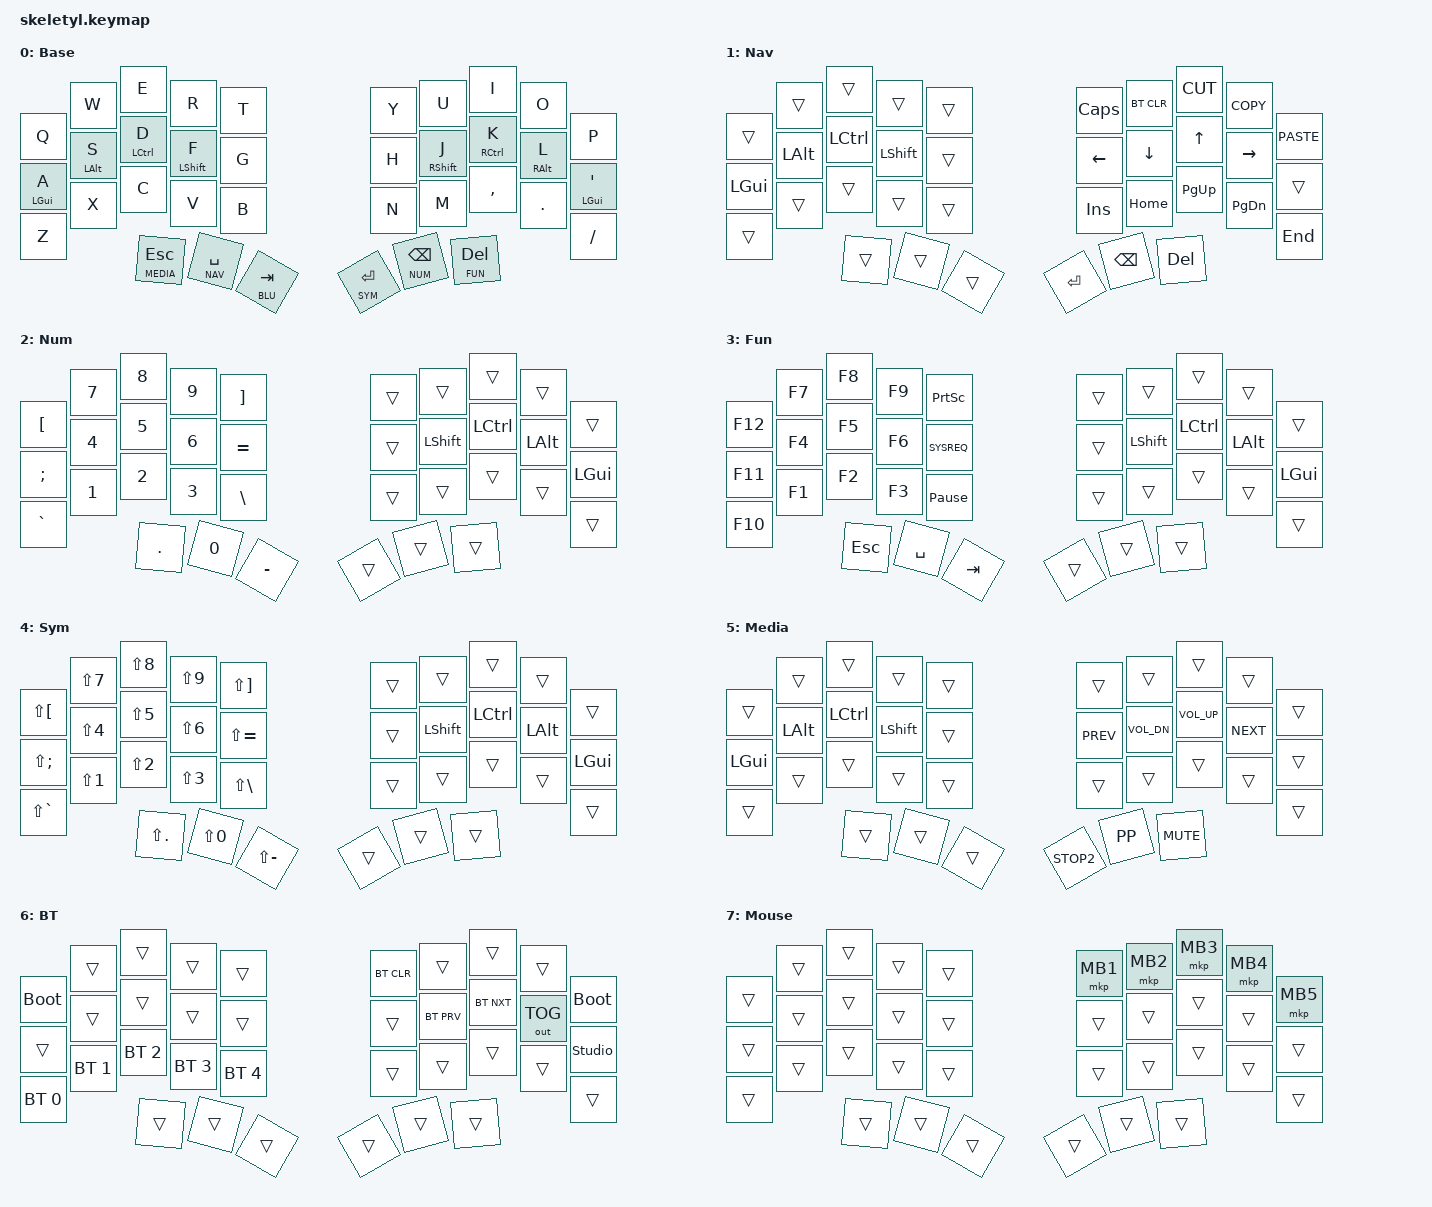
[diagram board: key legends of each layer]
/*
 * Mirrors the Klein keymap (github.com/AdrianPanainte/Klein-zmk, klein.keymap) so both
 * boards type the same. Differences, all due to hardware:
 *   - 3 thumb keys per side instead of Klein's 4 left / 3 right: Klein's extra inner-left
 *     key (mute / bootloader) is dropped.
 *   - No knob: the knob bindings are gone.
 *   - Trackball instead of trackpad: hold SPACE (NAV) to scroll, and moving the ball turns
 *     on MOUSE for a moment with clicks on the right top row.
 *   - BLU also has bootloader (Q = left half, P = right half), USB/BLE toggle and Studio unlock.
 */

#include <behaviors.dtsi>
#include <dt-bindings/zmk/bt.h>
#include <dt-bindings/zmk/input_transform.h>
#include <dt-bindings/zmk/keys.h>
#include <dt-bindings/zmk/mouse.h>
#include <dt-bindings/zmk/outputs.h>
#include <dt-bindings/zmk/pointing.h>
#include <input/processors.dtsi>

#define BASE  0
#define NAV   1
#define NUM   2
#define FUN   3
#define SYM   4
#define MEDIA 5
#define BLU   6
#define MOUSE 7  // auto-enabled while the trackball moves

// Same home-row mod timing as the Klein
&mt {
    quick-tap-ms = <100>;
    require-prior-idle-ms = <100>;
    flavor = "tap-preferred";
    tapping-term-ms = <180>;
};

// MOUSE turns on when the ball moves (unless you typed in the last 200ms) and off again
// 1s after it stops or as soon as any key other than the clicks or left home-row mods is
// pressed. Positions: 5-9 = Y U I O P (clicks), 10-13 = A S D F (mods for Cmd+click etc).
&zip_temp_layer {
    require-prior-idle-ms = <200>;
    excluded-positions = <5 6 7 8 9 10 11 12 13>;
};

/ {
    trackball_listener {
        compatible = "zmk,input-listener";
        device = <&trackball_split>;
        input-processors = <&zip_temp_layer MOUSE 1000>;

        // Ball counts map 1:1 to wheel notches, far too fast at 3000 CPI: scale down.
        // Raise the 4 to scroll slower, lower it to scroll faster.
        scroll {
            layers = <NAV>;
            input-processors = <&zip_xy_to_scroll_mapper>, <&zip_scroll_scaler 1 4>, <&zip_scroll_transform (INPUT_TRANSFORM_X_INVERT)>;
        };
    };

    keymap {
        compatible = "zmk,keymap";

        default_layer {
            display-name = "Base";
//          |  Q   |  W   |  E   |  R   |  T   |          |  Y   |  U   |  I   |  O   |  P   |
//          |  A   |  S   |  D   |  F   |  G   |          |  H   |  J   |  K   |  L   |  '   |
//          |  Z   |  X   |  C   |  V   |  B   |          |  N   |  M   |  ,   |  .   |  /   |
//                        | ESC  | SPC  | TAB  |          | RET  | BKSP | DEL  |
            bindings = <
&kp Q          &kp W          &kp E          &kp R          &kp T               &kp Y          &kp U          &kp I          &kp O          &kp P
&mt LGUI A     &mt LALT S     &mt LCTRL D    &mt LSHFT F    &kp G               &kp H          &mt RSHFT J    &mt RCTRL K    &mt RALT L     &mt LGUI SQT
&kp Z          &kp X          &kp C          &kp V          &kp B               &kp N          &kp M          &kp COMMA      &kp DOT        &kp FSLH
                              &lt MEDIA ESC  &lt NAV SPACE  &lt BLU TAB         &lt SYM RET    &lt NUM BKSP   &lt FUN DEL
            >;
        };

        nav_layer {
            display-name = "Nav";
            bindings = <
&trans         &trans         &trans         &trans         &trans              &kp CAPSLOCK   &bt BT_CLR     &kp K_CUT      &kp K_COPY     &kp K_PASTE
&kp LGUI       &kp LALT       &kp LCTRL      &kp LSHFT      &trans              &kp LEFT       &kp DOWN       &kp UP         &kp RIGHT      &trans
&trans         &trans         &trans         &trans         &trans              &kp INSERT     &kp HOME       &kp PG_UP      &kp PG_DN      &kp END
                              &trans         &trans         &trans              &kp RET        &kp BKSP       &kp DEL
            >;
        };

        num_layer {
            display-name = "Num";
            bindings = <
&kp LBKT       &kp N7         &kp N8         &kp N9         &kp RBKT            &trans         &trans         &trans         &trans         &trans
&kp SEMI       &kp N4         &kp N5         &kp N6         &kp EQUAL           &trans         &kp LSHFT      &kp LCTRL      &kp LALT       &kp LGUI
&kp GRAVE      &kp N1         &kp N2         &kp N3         &kp BSLH            &trans         &trans         &trans         &trans         &trans
                              &kp PERIOD     &kp N0         &kp MINUS           &trans         &trans         &trans
            >;
        };

        fun_layer {
            display-name = "Fun";
            bindings = <
&kp F12        &kp F7         &kp F8         &kp F9         &kp PSCRN           &trans         &trans         &trans         &trans         &trans
&kp F11        &kp F4         &kp F5         &kp F6         &kp SYSREQ          &trans         &kp LSHFT      &kp LCTRL      &kp LALT       &kp LGUI
&kp F10        &kp F1         &kp F2         &kp F3         &kp PAUSE_BREAK     &trans         &trans         &trans         &trans         &trans
                              &kp ESC        &kp SPACE      &kp TAB             &trans         &trans         &trans
            >;
        };

        sym_layer {
            display-name = "Sym";
            bindings = <
&kp LS(LBKT)   &kp LS(N7)     &kp LS(N8)     &kp LS(N9)     &kp LS(RBKT)        &trans         &trans         &trans         &trans         &trans
&kp LS(SEMI)   &kp LS(N4)     &kp LS(N5)     &kp LS(N6)     &kp LS(EQUAL)       &trans         &kp LSHFT      &kp LCTRL      &kp LALT       &kp LGUI
&kp LS(GRAVE)  &kp LS(N1)     &kp LS(N2)     &kp LS(N3)     &kp LS(BSLH)        &trans         &trans         &trans         &trans         &trans
                              &kp LS(PERIOD) &kp LS(N0)     &kp LS(MINUS)       &trans         &trans         &trans
            >;
        };

        media_layer {
            display-name = "Media";
            bindings = <
&trans         &trans         &trans         &trans         &trans              &trans         &trans         &trans         &trans         &trans
&kp LGUI       &kp LALT       &kp LCTRL      &kp LSHFT      &trans              &kp K_PREV     &kp K_VOL_DN   &kp K_VOL_UP   &kp K_NEXT     &trans
&trans         &trans         &trans         &trans         &trans              &trans         &trans         &trans         &trans         &trans
                              &trans         &trans         &trans              &kp K_STOP2    &kp K_PP       &kp K_MUTE
            >;
        };

        blu_layer {
            display-name = "BT";
            bindings = <
&bootloader    &trans         &trans         &trans         &trans              &bt BT_CLR     &trans         &trans         &trans         &bootloader
&trans         &trans         &trans         &trans         &trans              &trans         &bt BT_PRV     &bt BT_NXT     &out OUT_TOG   &studio_unlock
&bt BT_SEL 0   &bt BT_SEL 1   &bt BT_SEL 2   &bt BT_SEL 3   &bt BT_SEL 4        &trans         &trans         &trans         &trans         &trans
                              &trans         &trans         &trans              &trans         &trans         &trans
            >;
        };

        mouse_layer {
            display-name = "Mouse";
            bindings = <
&trans         &trans         &trans         &trans         &trans              &mkp MB1       &mkp MB2       &mkp MB3       &mkp MB4       &mkp MB5
&trans         &trans         &trans         &trans         &trans              &trans         &trans         &trans         &trans         &trans
&trans         &trans         &trans         &trans         &trans              &trans         &trans         &trans         &trans         &trans
                              &trans         &trans         &trans              &trans         &trans         &trans
            >;
        };
    };
};
